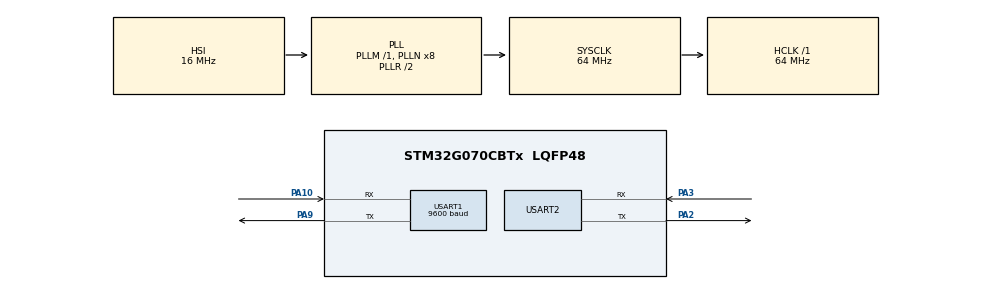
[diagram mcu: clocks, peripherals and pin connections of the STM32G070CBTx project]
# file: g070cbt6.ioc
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Mcu.Family=STM32G0
Mcu.Name=STM32G070CBTx
Mcu.Package=LQFP48
PA10.Mode=Asynchronous
PA10.Signal=USART1_RX
PA13.Mode=Serial_Wire
PA13.Signal=SYS_SWDIO
PA14-BOOT0.Mode=Serial_Wire
PA14-BOOT0.Signal=SYS_SWCLK
PA2.Mode=Asynchronous
PA2.Signal=USART2_TX
PA3.Mode=Asynchronous
PA3.Signal=USART2_RX
PA9.Mode=Asynchronous
PA9.Signal=USART1_TX
ProjectManager.HeapSize=0x200
ProjectManager.StackSize=0x400
ProjectManager.TargetToolchain=MDK-ARM V5.32
RCC.ADCFreq_Value=64000000
RCC.AHBFreq_Value=64000000
RCC.CortexFreq_Value=64000000
RCC.EXTERNAL_CLOCK_VALUE=48000
RCC.HCLKFreq_Value=64000000
RCC.HSE_VALUE=8000000
RCC.HSI_VALUE=16000000
RCC.LSE_VALUE=32768
RCC.SYSCLKFreq_VALUE=64000000
RCC.SYSCLKSource=RCC_SYSCLKSOURCE_PLLCLK
RCC.VCOOutputFreq_Value=128000000
USART1.BaudRate=9600
USART1.VirtualMode-Asynchronous=VM_ASYNC
USART2.VirtualMode-Asynchronous=VM_ASYNC
board=custom

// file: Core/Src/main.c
/* USER CODE BEGIN Header */
/**
  ******************************************************************************
  * @file           : main.c
  * @brief          : Main program body
  ******************************************************************************
  * @attention
  *
  * Copyright (c) 2026 STMicroelectronics.
  * All rights reserved.
  *
  * This software is licensed under terms that can be found in the LICENSE file
  * in the root directory of this software component.
  * If no LICENSE file comes with this software, it is provided AS-IS.
  *
  ******************************************************************************
  */
/* USER CODE END Header */
#include "main.h"
#include "usart.h"
#include "gpio.h"

/* USER CODE BEGIN Includes */
#include <stdio.h>
#include <stdlib.h>
#include <string.h>
/* USER CODE END Includes */

/* USER CODE BEGIN PV */
extern UART_HandleTypeDef huart1;
extern UART_HandleTypeDef huart2;
uint32_t lastSendTime = 0;
#define SEND_INTERVAL 5000  // 2 seconds interval
/* USER CODE END PV */

void SystemClock_Config(void);
/* USER CODE BEGIN PFP */
void SendJsonData(void);
float GenerateRandomFloat(float min, float max);
int GenerateRandomInt(int min, int max);
/* USER CODE END PFP */

int main(void)
{

  /* MCU Configuration--------------------------------------------------------*/

  /* Reset of all peripherals, Initializes the Flash interface and the Systick. */
  HAL_Init();

  /* Configure the system clock */
  SystemClock_Config();

  /* Initialize all configured peripherals */
  MX_GPIO_Init();
  MX_USART1_UART_Init();
  MX_USART2_UART_Init();
  /* USER CODE BEGIN 2 */
  // Seed random number generator with SysTick value
  srand(HAL_GetTick());
  /* USER CODE END 2 */

  /* Infinite loop */
  while (1)
  {

    /* USER CODE BEGIN 3 */
    uint32_t currentTime = HAL_GetTick();
    if (currentTime - lastSendTime >= SEND_INTERVAL)
    {
      SendJsonData();
      lastSendTime = currentTime;
    }
  }
  /* USER CODE END 3 */
}

void SystemClock_Config(void)
{
  RCC_OscInitTypeDef RCC_OscInitStruct = {0};
  RCC_ClkInitTypeDef RCC_ClkInitStruct = {0};

  /** Configure the main internal regulator output voltage
  */
  HAL_PWREx_ControlVoltageScaling(PWR_REGULATOR_VOLTAGE_SCALE1);

  /** Initializes the RCC Oscillators according to the specified parameters
  * in the RCC_OscInitTypeDef structure.
  */
  RCC_OscInitStruct.OscillatorType = RCC_OSCILLATORTYPE_HSI;
  RCC_OscInitStruct.HSIState = RCC_HSI_ON;
  RCC_OscInitStruct.HSIDiv = RCC_HSI_DIV1;
  RCC_OscInitStruct.HSICalibrationValue = RCC_HSICALIBRATION_DEFAULT;
  RCC_OscInitStruct.PLL.PLLState = RCC_PLL_ON;
  RCC_OscInitStruct.PLL.PLLSource = RCC_PLLSOURCE_HSI;
  RCC_OscInitStruct.PLL.PLLM = RCC_PLLM_DIV1;
  RCC_OscInitStruct.PLL.PLLN = 8;
  RCC_OscInitStruct.PLL.PLLP = RCC_PLLP_DIV2;
  RCC_OscInitStruct.PLL.PLLR = RCC_PLLR_DIV2;
  if (HAL_RCC_OscConfig(&RCC_OscInitStruct) != HAL_OK)
  {
    Error_Handler();
  }

  /** Initializes the CPU, AHB and APB buses clocks
  */
  RCC_ClkInitStruct.ClockType = RCC_CLOCKTYPE_HCLK|RCC_CLOCKTYPE_SYSCLK
                              |RCC_CLOCKTYPE_PCLK1;
  RCC_ClkInitStruct.SYSCLKSource = RCC_SYSCLKSOURCE_PLLCLK;
  RCC_ClkInitStruct.AHBCLKDivider = RCC_SYSCLK_DIV1;
  RCC_ClkInitStruct.APB1CLKDivider = RCC_HCLK_DIV1;

  if (HAL_RCC_ClockConfig(&RCC_ClkInitStruct, FLASH_LATENCY_2) != HAL_OK)
  {
    Error_Handler();
  }
}

/* USER CODE BEGIN 4 */
/**
  * @brief  Generate random float between min and max
  * @param  min: minimum value
  * @param  max: maximum value
  * @retval random float value
  */
float GenerateRandomFloat(float min, float max)
{
  return min + (float)rand() / (float)(RAND_MAX / (max - min));
}

/**
  * @brief  Generate random integer between min and max
  * @param  min: minimum value
  * @param  max: maximum value
  * @retval random integer value
  */
int GenerateRandomInt(int min, int max)
{
  return min + rand() % (max - min + 1);
}

/**
  * @brief  Send JSON data via UART2 and forward via UART1
  * @retval None
  */
void SendJsonData(void)
{
  char jsonBuffer[256];
  float temperature = GenerateRandomFloat(20.0, 35.0);
  int humidity = GenerateRandomInt(40, 80);
  int lightIntensity = GenerateRandomInt(100, 1000);

  // Format JSON string
  snprintf(jsonBuffer, sizeof(jsonBuffer),
           "{\"deviceNAME\":\"智慧家居\",\"mcuNAME\":\"STM32\",\"sendTarget\":\"ALL\",\"data\":{\"temperature\":%.1f,\"humidity\":%d,\"lightIntensity\":%d}}\r\n",
           temperature, humidity, lightIntensity);

  // Send via UART2
  HAL_UART_Transmit(&huart2, (uint8_t*)jsonBuffer, strlen(jsonBuffer), 1000);

  // Forward via UART1 (synchronously)
  HAL_UART_Transmit(&huart1, (uint8_t*)jsonBuffer, strlen(jsonBuffer), 1000);
}
/* USER CODE END 4 */

void Error_Handler(void)
{
  __disable_irq();
  while (1)
  {
  }
}
